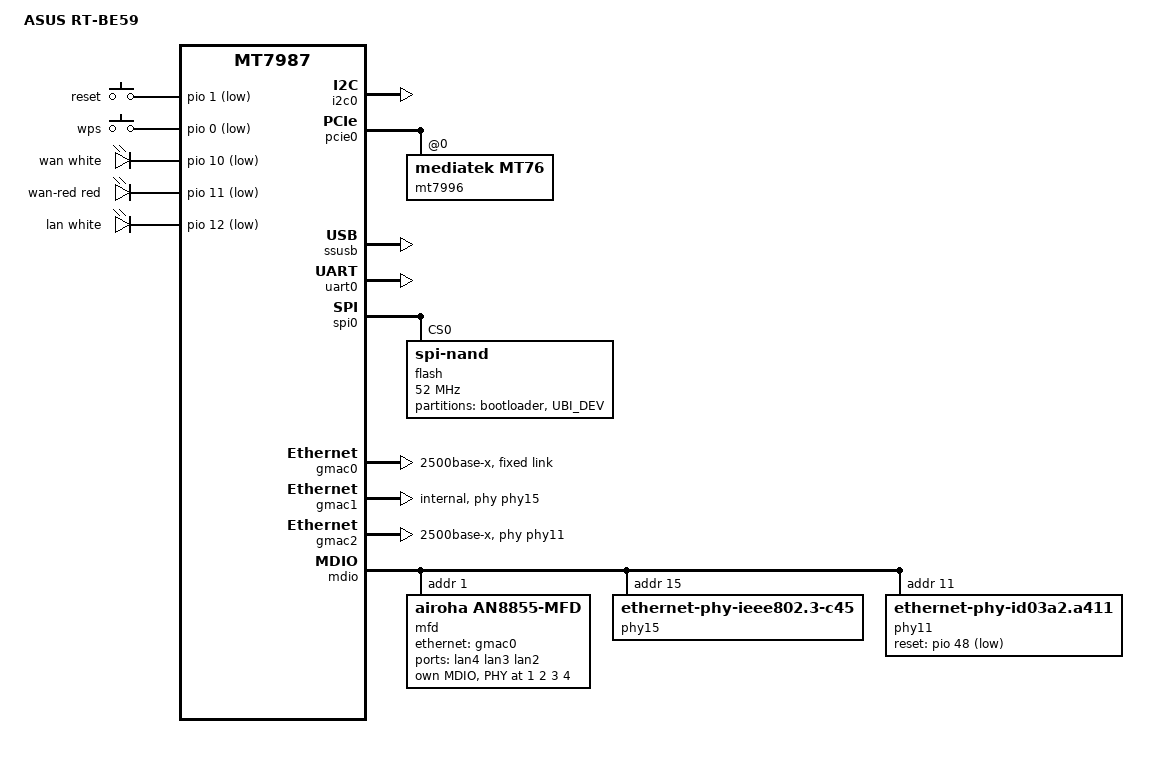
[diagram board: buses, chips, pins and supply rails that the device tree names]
// SPDX-License-Identifier: (GPL-2.0 OR MIT)
/*
 * Copyright (C) 2025 MediaTek Inc.
 * Author: Sam.Shih <sam.shih@mediatek.com>
 */

/dts-v1/;
#include "mt7987a.dtsi"
#include <dt-bindings/input/input.h>

/* MT7987A RFB DTS for DT overlay-based device tree */
/ {
	model = "ASUS RT-BE59";
	compatible = "asus,rt-be59", "mediatek,mt7987";

	chosen {
		bootargs-override = "rootfstype=squashfs ubi.mtd=UBI_DEV console=ttyS0,115200n1 earlycon=uart8250,mmio32,0x11000000 pci=pcie_bus_perf nosmp";
	};

	gpio-keys {
		compatible = "gpio-keys";

		reset {
			label = "reset";
			linux,code = <KEY_RESTART>;
			gpios = <&pio 1 GPIO_ACTIVE_LOW>;
			debounce-interval = <10>;
		};

		wps {
			label = "wps";
			linux,code = <KEY_WPS_BUTTON>;
			gpios = <&pio 0 GPIO_ACTIVE_LOW>;
			debounce-interval = <10>;
		};
	};
	
	leds {
		compatible = "gpio-leds";

		wan {
			function = LED_FUNCTION_WAN;
			color = <LED_COLOR_ID_WHITE>;
			gpios = <&pio 10 GPIO_ACTIVE_LOW>;
		};

		wan-red {
			function = LED_FUNCTION_WAN;
			color = <LED_COLOR_ID_RED>;
			gpios = <&pio 11 GPIO_ACTIVE_LOW>;
			linux,default-trigger = "default-on";
		};

		lan {
			function = LED_FUNCTION_LAN;
			color = <LED_COLOR_ID_WHITE>;
			gpios = <&pio 12 GPIO_ACTIVE_LOW>;
		};
	};
	aliases {
		ethernet0 = "/soc/ethernet@15100000/mac@0";
		ethernet1 = "/soc/ethernet@15100000/mac@1";
		ethernet2 = "/soc/ethernet@15100000/mac@2";
	};
};

&i2c0 {
	pinctrl-names = "default";
	pinctrl-0 = <&i2c0_pins>;
	status = "okay";
};

&fan {
	pwms = <&pwm 0 50000 0>;
	status = "disabled";
};

&pcie0 {
	pinctrl-names = "default";
	pinctrl-0 = <&pcie0_pins>;
	status = "okay";
	slot0: pcie@0,0 {
		reg = <0x0000 0 0 0 0>;

		mt7996@0,0 {
			compatible = "mediatek,mt76";
			reg = <0x0000 0 0 0 0>;
			device_type = "pci";
			mediatek,mtd-eeprom = <&eeprom_factory_0 0x0>;
		};
	};
};

&pcie1 {
	pinctrl-names = "default";
	pinctrl-0 = <&pcie1_pins>;
	status = "disabled";
};

&pwm {
	status = "disabled";
};

&ssusb {
	status = "okay";
};

&uart0 {
	pinctrl-names = "default";
	pinctrl-0 = <&uart0_pins>;
	status = "okay";
};

&spi1 {
	status = "disabled";
};

&spi0 {
	pinctrl-names = "default";
	pinctrl-0 = <&spi0_flash_pins>;
	status = "okay";

	flash@0 {
		compatible = "spi-nand";
		reg = <0>;
		spi-max-frequency = <52000000>;
		spi-tx-bus-width = <4>;
		spi-rx-bus-width = <4>;
		mediatek,nmbm;
		mediatek,bmt-max-ratio = <1>;
		mediatek,bmt-max-reserved-blocks = <64>;

		partitions {
			compatible = "fixed-partitions";
			#address-cells = <1>;
			#size-cells = <1>;

			partition@0 {
				reg = <0x0 0x400000>;
				label = "bootloader";
				read-only;
			};

			partition@400000 {
				compatible = "linux,ubi";
				reg = <0x400000 0xfc00000>;
				label = "UBI_DEV";

				volumes {
					ubi_factory: ubi-volume-factory {
						volname = "Factory";
					};
				};
			};
		};
	};
};

&ubi_factory {
	nvmem-layout {
		compatible = "fixed-layout";
		#address-cells = <1>;
		#size-cells = <1>;

		eeprom_factory_0: eeprom@0 {
			reg = <0x0 0x1E00>;
		};
	};
};

&gmac0 {
	phy-mode = "2500base-x";
	status = "okay";
	fixed-link {
		speed = <2500>;
		full-duplex;
		pause;
	};
};

&gmac1 {
	phy-mode = "internal";
	phy-handle = <&phy15>;
	status = "okay";
};

&gmac2 {
	phy-handle = <&phy11>;
	phy-mode = "2500base-x";
	status = "okay";
};

&mdio {
	mfd: mfd@1 {
		compatible = "airoha,an8855-mfd";
		reg = <1>;
		status = "okay";

		efuse {
			compatible = "airoha,an8855-efuse";
			#nvmem-cell-cells = <0>;

			nvmem-layout {
				compatible = "fixed-layout";
				#address-cells = <1>;
				#size-cells = <1>;

				shift_sel_port0_tx_a: shift-sel-port0-tx-a@c {
					reg = <0xc 0x4>;
				};

				shift_sel_port0_tx_b: shift-sel-port0-tx-b@10 {
					reg = <0x10 0x4>;
				};

				shift_sel_port0_tx_c: shift-sel-port0-tx-c@14 {
					reg = <0x14 0x4>;
				};

				shift_sel_port0_tx_d: shift-sel-port0-tx-d@18 {
					reg = <0x18 0x4>;
				};

				shift_sel_port1_tx_a: shift-sel-port1-tx-a@1c {
					reg = <0x1c 0x4>;
				};

				shift_sel_port1_tx_b: shift-sel-port1-tx-b@20 {
					reg = <0x20 0x4>;
				};

				shift_sel_port1_tx_c: shift-sel-port1-tx-c@24 {
					reg = <0x24 0x4>;
				};

				shift_sel_port1_tx_d: shift-sel-port1-tx-d@28 {
					reg = <0x28 0x4>;
				};

				shift_sel_port2_tx_a: shift-sel-port2-tx-a@2c {
					reg = <0x2c 0x4>;
				};

				shift_sel_port2_tx_b: shift-sel-port2-tx-b@30 {
					reg = <0x30 0x4>;
				};

				shift_sel_port2_tx_c: shift-sel-port2-tx-c@34 {
					reg = <0x34 0x4>;
				};

				shift_sel_port2_tx_d: shift-sel-port2-tx-d@38 {
					reg = <0x38 0x4>;
				};

				shift_sel_port3_tx_a: shift-sel-port3-tx-a@4c {
					reg = <0x4c 0x4>;
				};

				shift_sel_port3_tx_b: shift-sel-port3-tx-b@50 {
					reg = <0x50 0x4>;
				};

				shift_sel_port3_tx_c: shift-sel-port3-tx-c@54 {
					reg = <0x54 0x4>;
				};

				shift_sel_port3_tx_d: shift-sel-port3-tx-d@58 {
					reg = <0x58 0x4>;
				};
			};
		};

		ethernet-switch {
			compatible = "airoha,an8855-switch";
			reset-gpios = <&pio 42 GPIO_ACTIVE_HIGH>;
			airoha,ext-surge;

			ports {
				#address-cells = <1>;
				#size-cells = <0>;

				port@0 {
					reg = <0>;
					label = "lan4";
					phy-mode = "internal";
					phy-handle = <&internal_phy1>;
				};

				port@1 {
					reg = <1>;
					label = "lan3";
					phy-mode = "internal";
					phy-handle = <&internal_phy2>;
				};

				port@2 {
					reg = <2>;
					label = "lan2";
					phy-mode = "internal";
					phy-handle = <&internal_phy3>;
				};

				port@3 {
					status = "disabled";
				};

				port@5 {
					reg = <5>;
					ethernet = <&gmac0>;
					phy-mode = "2500base-x";

					fixed-link {
						speed = <2500>;
						full-duplex;
						pause;
					};
				};
			};
		};

		mdio {
			compatible = "airoha,an8855-mdio";
			#address-cells = <1>;
			#size-cells = <0>;

			internal_phy1: phy@1 {
				reg = <1>;

				nvmem-cells = <&shift_sel_port0_tx_a>,
						<&shift_sel_port0_tx_b>,
						<&shift_sel_port0_tx_c>,
						<&shift_sel_port0_tx_d>;
				nvmem-cell-names = "tx_a", "tx_b", "tx_c", "tx_d";
			};

			internal_phy2: phy@2 {
				reg = <2>;

				nvmem-cells = <&shift_sel_port1_tx_a>,
						<&shift_sel_port1_tx_b>,
						<&shift_sel_port1_tx_c>,
						<&shift_sel_port1_tx_d>;
				nvmem-cell-names = "tx_a", "tx_b", "tx_c", "tx_d";
			};

			internal_phy3: phy@3 {
				reg = <3>;

				nvmem-cells = <&shift_sel_port2_tx_a>,
						<&shift_sel_port2_tx_b>,
						<&shift_sel_port2_tx_c>,
						<&shift_sel_port2_tx_d>;
				nvmem-cell-names = "tx_a", "tx_b", "tx_c", "tx_d";
			};

			internal_phy4: phy@4 {
				reg = <4>;

				nvmem-cells = <&shift_sel_port3_tx_a>,
						<&shift_sel_port3_tx_b>,
						<&shift_sel_port3_tx_c>,
						<&shift_sel_port3_tx_d>;
				nvmem-cell-names = "tx_a", "tx_b", "tx_c", "tx_d";
			};
		};
	};

	/* built-in 2.5G Ethernet PHY */
	phy15: phy@15 {
		pinctrl-names = "i2p5gbe-led";
		pinctrl-0 = <&i2p5gbe_led0_pins>;
		compatible = "ethernet-phy-ieee802.3-c45";
		reg = <15>;
		phy-mode = "internal";
	};

	phy11: phy@11 {
		compatible = "ethernet-phy-id03a2.a411";
		reg = <11>;
		reset-gpios = <&pio 48 GPIO_ACTIVE_LOW>;
		reset-assert-us = <10000>;
		reset-deassert-us = <10000>;
		full-duplex;
		pause;
	};
};

